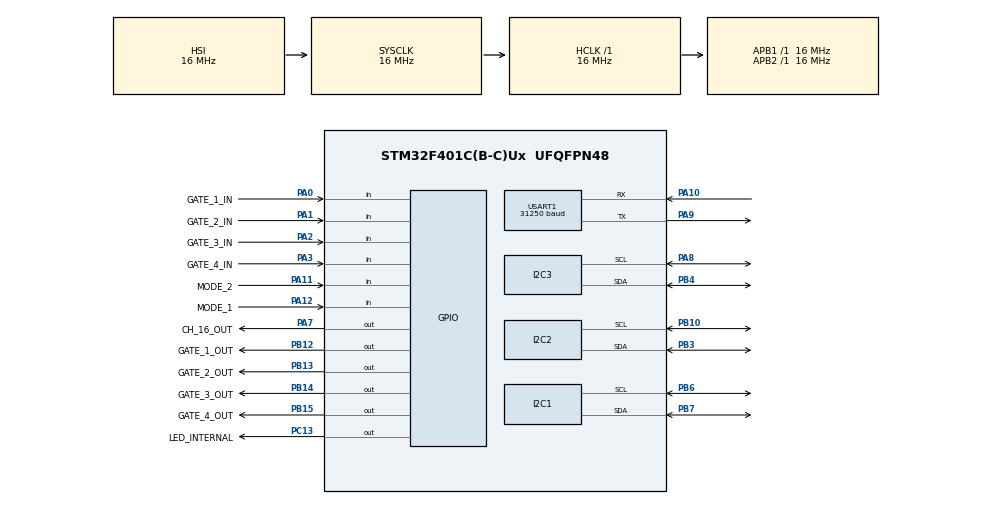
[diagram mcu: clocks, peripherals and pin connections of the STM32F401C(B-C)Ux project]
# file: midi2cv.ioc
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Mcu.Family=STM32F4
Mcu.Name=STM32F401C(B-C)Ux
Mcu.Package=UFQFPN48
NVIC.PriorityGroup=NVIC_PRIORITYGROUP_4
NVIC.USART1_IRQn=true\:0\:0\:false\:false\:true\:true\:true\:true
PA0-WKUP.GPIO_Label=GATE_1_IN
PA0-WKUP.Signal=GPIO_Input
PA1.GPIO_Label=GATE_2_IN
PA1.Signal=GPIO_Input
PA10.Mode=Asynchronous
PA10.Signal=USART1_RX
PA11.GPIO_Label=MODE_2
PA11.Signal=GPIO_Input
PA12.GPIO_Label=MODE_1
PA12.Signal=GPIO_Input
PA13.Mode=Serial_Wire
PA13.Signal=SYS_JTMS-SWDIO
PA14.Mode=Serial_Wire
PA14.Signal=SYS_JTCK-SWCLK
PA2.GPIO_Label=GATE_3_IN
PA2.Signal=GPIO_Input
PA3.GPIO_Label=GATE_4_IN
PA3.Signal=GPIO_Input
PA7.GPIO_Label=CH_16_OUT
PA7.Signal=GPIO_Output
PA8.Mode=I2C
PA8.Signal=I2C3_SCL
PA9.Mode=Asynchronous
PA9.Signal=USART1_TX
PB10.Mode=I2C
PB10.Signal=I2C2_SCL
PB12.GPIO_Label=GATE_1_OUT
PB12.Signal=GPIO_Output
PB13.GPIO_Label=GATE_2_OUT
PB13.Signal=GPIO_Output
PB14.GPIO_Label=GATE_3_OUT
PB14.Signal=GPIO_Output
PB15.GPIO_Label=GATE_4_OUT
PB15.Signal=GPIO_Output
PB3.Mode=I2C
PB3.Signal=I2C2_SDA
PB4.Mode=I2C
PB4.Signal=I2C3_SDA
PB6.Mode=I2C
PB6.Signal=I2C1_SCL
PB7.Mode=I2C
PB7.Signal=I2C1_SDA
PC13-ANTI_TAMP.GPIO_Label=LED_INTERNAL
PC13-ANTI_TAMP.Signal=GPIO_Output
PH0\ -\ OSC_IN.Mode=HSE-External-Oscillator
PH0\ -\ OSC_IN.Signal=RCC_OSC_IN
PH1\ -\ OSC_OUT.Mode=HSE-External-Oscillator
PH1\ -\ OSC_OUT.Signal=RCC_OSC_OUT
ProjectManager.HeapSize=0x200
ProjectManager.StackSize=0x400
ProjectManager.TargetToolchain=STM32CubeIDE
RCC.AHBFreq_Value=16000000
RCC.APB1Freq_Value=16000000
RCC.APB2Freq_Value=16000000
RCC.CortexFreq_Value=16000000
RCC.HSE_VALUE=20000000
RCC.HSI_VALUE=16000000
RCC.SYSCLKFreq_VALUE=16000000
RCC.VCOOutputFreq_Value=192000000
USART1.BaudRate=31250
USART1.Mode=MODE_TX_RX
USART1.VirtualMode=VM_ASYNC
board=custom

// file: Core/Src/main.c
/* USER CODE BEGIN Header */
/**
  ******************************************************************************
  * @file           : main.c
  * @brief          : Main program body
  ******************************************************************************
  * @attention
  *
  * Copyright (c) 2024 STMicroelectronics.
  * All rights reserved.
  *
  * This software is licensed under terms that can be found in the LICENSE file
  * in the root directory of this software component.
  * If no LICENSE file comes with this software, it is provided AS-IS.
  *
  ******************************************************************************
  */
/* USER CODE END Header */
#include "main.h"

/* USER CODE BEGIN Includes */

#include "app/midi.h"
#include "app/midi_handler.h"

/* USER CODE END Includes */

I2C_HandleTypeDef hi2c1;
I2C_HandleTypeDef hi2c2;
I2C_HandleTypeDef hi2c3;

UART_HandleTypeDef huart1;

/* USER CODE BEGIN PV */

uint8_t midi_received_buf;

/* USER CODE END PV */

void SystemClock_Config(void);
static void MX_GPIO_Init(void);
static void MX_I2C1_Init(void);
static void MX_I2C2_Init(void);
static void MX_I2C3_Init(void);
static void MX_USART1_UART_Init(void);

/* USER CODE BEGIN 0 */

/*
 * This is the interrupt handler. Make sure that the USART global interrupt is enabled in the IOC
 */
void HAL_UART_RxCpltCallback(UART_HandleTypeDef *huart) {
    if (huart->Instance == huart1.Instance) {
        GPIOC->ODR |= GPIO_PIN_9;
        midi_push_buffer(&midi_received_buf);
        HAL_UART_Receive_IT(&huart1, &midi_received_buf, 1);
    }
}

/* USER CODE END 0 */

int main(void)
{

  /* MCU Configuration--------------------------------------------------------*/

  /* Reset of all peripherals, Initializes the Flash interface and the Systick. */
  HAL_Init();

  /* Configure the system clock */
  SystemClock_Config();

  /* Initialize all configured peripherals */
  MX_GPIO_Init();
  MX_I2C1_Init();
  MX_I2C2_Init();
  MX_I2C3_Init();
  MX_USART1_UART_Init();
  /* USER CODE BEGIN 2 */

    // ensure interrupt will be called on next receive
    HAL_UART_Receive_IT(&huart1, &midi_received_buf, 1);

    // Init midi system
    midi_init();

    // Init midi handler
    struct midi_handler_config config;
    config.cv_dac1 = &hi2c1;
    config.vel_dac2 = &hi2c2;
    config.mod_dac3 = &hi2c3;
    config.assignment_mode = MH_CHANNEL;
    config.mode = MH_SINGLE_DAC;
    config.trigger_mode = MH_TRIGGER_ON;

    // bit mask of channels available
    // 0000ABCD;
    config.available_channels = 0b00001000;

    midi_handler_init(&config);

  /* USER CODE END 2 */

  /* Infinite loop */
    while (1) {

    /* USER CODE BEGIN 3 */
        MIDI_event midi_event;

        if (midi_run(&midi_event) == true) {
            midi_handler_run(&midi_event);
        }
    }
  /* USER CODE END 3 */
}

void SystemClock_Config(void)
{
  RCC_OscInitTypeDef RCC_OscInitStruct = {0};
  RCC_ClkInitTypeDef RCC_ClkInitStruct = {0};

  /** Configure the main internal regulator output voltage
  */
  __HAL_RCC_PWR_CLK_ENABLE();
  __HAL_PWR_VOLTAGESCALING_CONFIG(PWR_REGULATOR_VOLTAGE_SCALE2);

  /** Initializes the RCC Oscillators according to the specified parameters
  * in the RCC_OscInitTypeDef structure.
  */
  RCC_OscInitStruct.OscillatorType = RCC_OSCILLATORTYPE_HSI;
  RCC_OscInitStruct.HSIState = RCC_HSI_ON;
  RCC_OscInitStruct.HSICalibrationValue = RCC_HSICALIBRATION_DEFAULT;
  RCC_OscInitStruct.PLL.PLLState = RCC_PLL_NONE;
  if (HAL_RCC_OscConfig(&RCC_OscInitStruct) != HAL_OK)
  {
    Error_Handler();
  }

  /** Initializes the CPU, AHB and APB buses clocks
  */
  RCC_ClkInitStruct.ClockType = RCC_CLOCKTYPE_HCLK|RCC_CLOCKTYPE_SYSCLK
                              |RCC_CLOCKTYPE_PCLK1|RCC_CLOCKTYPE_PCLK2;
  RCC_ClkInitStruct.SYSCLKSource = RCC_SYSCLKSOURCE_HSI;
  RCC_ClkInitStruct.AHBCLKDivider = RCC_SYSCLK_DIV1;
  RCC_ClkInitStruct.APB1CLKDivider = RCC_HCLK_DIV1;
  RCC_ClkInitStruct.APB2CLKDivider = RCC_HCLK_DIV1;

  if (HAL_RCC_ClockConfig(&RCC_ClkInitStruct, FLASH_LATENCY_0) != HAL_OK)
  {
    Error_Handler();
  }
}

static void MX_I2C1_Init(void)
{

  hi2c1.Instance = I2C1;
  hi2c1.Init.ClockSpeed = 100000;
  hi2c1.Init.DutyCycle = I2C_DUTYCYCLE_2;
  hi2c1.Init.OwnAddress1 = 0;
  hi2c1.Init.AddressingMode = I2C_ADDRESSINGMODE_7BIT;
  hi2c1.Init.DualAddressMode = I2C_DUALADDRESS_DISABLE;
  hi2c1.Init.OwnAddress2 = 0;
  hi2c1.Init.GeneralCallMode = I2C_GENERALCALL_DISABLE;
  hi2c1.Init.NoStretchMode = I2C_NOSTRETCH_DISABLE;
  if (HAL_I2C_Init(&hi2c1) != HAL_OK)
  {
    Error_Handler();
  }

}

static void MX_I2C2_Init(void)
{

  hi2c2.Instance = I2C2;
  hi2c2.Init.ClockSpeed = 100000;
  hi2c2.Init.DutyCycle = I2C_DUTYCYCLE_2;
  hi2c2.Init.OwnAddress1 = 0;
  hi2c2.Init.AddressingMode = I2C_ADDRESSINGMODE_7BIT;
  hi2c2.Init.DualAddressMode = I2C_DUALADDRESS_DISABLE;
  hi2c2.Init.OwnAddress2 = 0;
  hi2c2.Init.GeneralCallMode = I2C_GENERALCALL_DISABLE;
  hi2c2.Init.NoStretchMode = I2C_NOSTRETCH_DISABLE;
  if (HAL_I2C_Init(&hi2c2) != HAL_OK)
  {
    Error_Handler();
  }

}

static void MX_I2C3_Init(void)
{

  hi2c3.Instance = I2C3;
  hi2c3.Init.ClockSpeed = 100000;
  hi2c3.Init.DutyCycle = I2C_DUTYCYCLE_2;
  hi2c3.Init.OwnAddress1 = 0;
  hi2c3.Init.AddressingMode = I2C_ADDRESSINGMODE_7BIT;
  hi2c3.Init.DualAddressMode = I2C_DUALADDRESS_DISABLE;
  hi2c3.Init.OwnAddress2 = 0;
  hi2c3.Init.GeneralCallMode = I2C_GENERALCALL_DISABLE;
  hi2c3.Init.NoStretchMode = I2C_NOSTRETCH_DISABLE;
  if (HAL_I2C_Init(&hi2c3) != HAL_OK)
  {
    Error_Handler();
  }

}

static void MX_USART1_UART_Init(void)
{

  huart1.Instance = USART1;
  huart1.Init.BaudRate = 31250;
  huart1.Init.WordLength = UART_WORDLENGTH_8B;
  huart1.Init.StopBits = UART_STOPBITS_1;
  huart1.Init.Parity = UART_PARITY_NONE;
  huart1.Init.Mode = UART_MODE_TX_RX;
  huart1.Init.HwFlowCtl = UART_HWCONTROL_NONE;
  huart1.Init.OverSampling = UART_OVERSAMPLING_16;
  if (HAL_UART_Init(&huart1) != HAL_OK)
  {
    Error_Handler();
  }

}

static void MX_GPIO_Init(void)
{
  GPIO_InitTypeDef GPIO_InitStruct = {0};

  /* GPIO Ports Clock Enable */
  __HAL_RCC_GPIOC_CLK_ENABLE();
  __HAL_RCC_GPIOH_CLK_ENABLE();
  __HAL_RCC_GPIOA_CLK_ENABLE();
  __HAL_RCC_GPIOB_CLK_ENABLE();

  /*Configure GPIO pin Output Level */
  HAL_GPIO_WritePin(LED_INTERNAL_GPIO_Port, LED_INTERNAL_Pin, GPIO_PIN_RESET);

  /*Configure GPIO pin Output Level */
  HAL_GPIO_WritePin(CH_16_OUT_GPIO_Port, CH_16_OUT_Pin, GPIO_PIN_RESET);

  /*Configure GPIO pin Output Level */
  HAL_GPIO_WritePin(GPIOB, GATE_1_OUT_Pin|GATE_2_OUT_Pin|GATE_3_OUT_Pin|GATE_4_OUT_Pin, GPIO_PIN_RESET);

  /*Configure GPIO pin : LED_INTERNAL_Pin */
  GPIO_InitStruct.Pin = LED_INTERNAL_Pin;
  GPIO_InitStruct.Mode = GPIO_MODE_OUTPUT_PP;
  GPIO_InitStruct.Pull = GPIO_NOPULL;
  GPIO_InitStruct.Speed = GPIO_SPEED_FREQ_LOW;
  HAL_GPIO_Init(LED_INTERNAL_GPIO_Port, &GPIO_InitStruct);

  /*Configure GPIO pins : GATE_1_IN_Pin GATE_2_IN_Pin GATE_3_IN_Pin GATE_4_IN_Pin
                           MODE_2_Pin MODE_1_Pin */
  GPIO_InitStruct.Pin = GATE_1_IN_Pin|GATE_2_IN_Pin|GATE_3_IN_Pin|GATE_4_IN_Pin
                          |MODE_2_Pin|MODE_1_Pin;
  GPIO_InitStruct.Mode = GPIO_MODE_INPUT;
  GPIO_InitStruct.Pull = GPIO_NOPULL;
  HAL_GPIO_Init(GPIOA, &GPIO_InitStruct);

  /*Configure GPIO pin : CH_16_OUT_Pin */
  GPIO_InitStruct.Pin = CH_16_OUT_Pin;
  GPIO_InitStruct.Mode = GPIO_MODE_OUTPUT_PP;
  GPIO_InitStruct.Pull = GPIO_NOPULL;
  GPIO_InitStruct.Speed = GPIO_SPEED_FREQ_LOW;
  HAL_GPIO_Init(CH_16_OUT_GPIO_Port, &GPIO_InitStruct);

  /*Configure GPIO pins : GATE_1_OUT_Pin GATE_2_OUT_Pin GATE_3_OUT_Pin GATE_4_OUT_Pin */
  GPIO_InitStruct.Pin = GATE_1_OUT_Pin|GATE_2_OUT_Pin|GATE_3_OUT_Pin|GATE_4_OUT_Pin;
  GPIO_InitStruct.Mode = GPIO_MODE_OUTPUT_PP;
  GPIO_InitStruct.Pull = GPIO_NOPULL;
  GPIO_InitStruct.Speed = GPIO_SPEED_FREQ_LOW;
  HAL_GPIO_Init(GPIOB, &GPIO_InitStruct);

}

void Error_Handler(void)
{
    __disable_irq();
    while (1) {
    }
}
